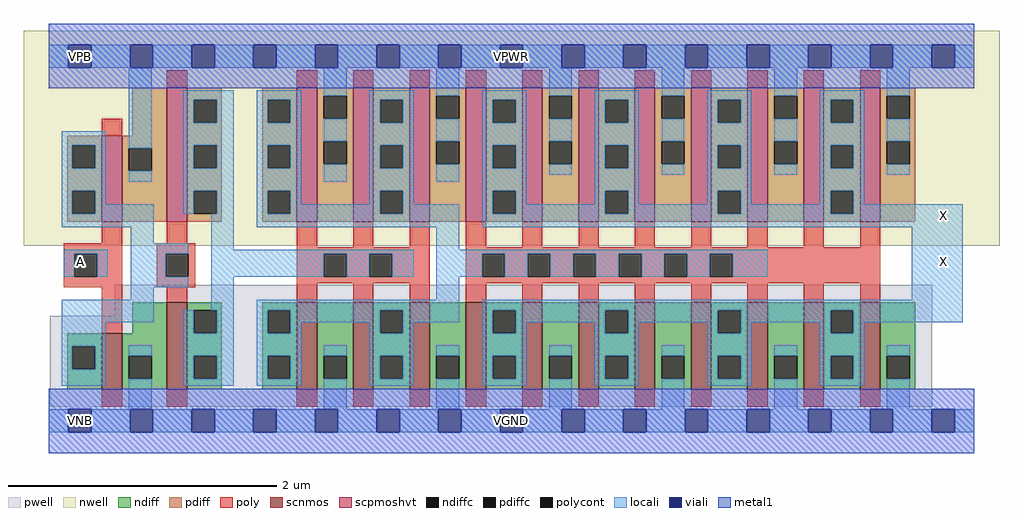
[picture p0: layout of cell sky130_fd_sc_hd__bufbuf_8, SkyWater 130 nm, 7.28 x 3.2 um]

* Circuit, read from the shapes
.subckt sky130_fd_sc_hd__bufbuf_8 A VGND VNB VPB VPWR X
XM1 VGND A n1 VNB sky130_fd_pr__nfet_01v8 w=0.42 l=0.15
XM2 n2 n1 VGND VNB sky130_fd_pr__nfet_01v8 w=0.65 l=0.15
XM3 VGND n2 n3 VNB sky130_fd_pr__nfet_01v8 w=0.65 l=0.15 m=3
XM4 X n3 VGND VNB sky130_fd_pr__nfet_01v8 w=0.65 l=0.15 m=8
XM5 VPWR A n1 VPB sky130_fd_pr__pfet_01v8_hvt w=0.64 l=0.15
XM6 n2 n1 VPWR VPB sky130_fd_pr__pfet_01v8_hvt w=1 l=0.15
XM7 VPWR n2 n3 VPB sky130_fd_pr__pfet_01v8_hvt w=1 l=0.15 m=3
XM8 X n3 VPWR VPB sky130_fd_pr__pfet_01v8_hvt w=1 l=0.15 m=8
.ends

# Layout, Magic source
magic
tech sky130B
magscale 1 2
<< nwell >>
rect -38 261 1418 582
<< pwell >>
rect 98 157 1318 203
rect 1 21 1318 157
rect 30 -17 64 21
<< scnmos >>
rect 79 47 109 131
rect 176 47 206 177
rect 370 47 400 177
rect 454 47 484 177
rect 538 47 568 177
rect 622 47 652 177
rect 706 47 736 177
rect 790 47 820 177
rect 874 47 904 177
rect 958 47 988 177
rect 1042 47 1072 177
rect 1126 47 1156 177
rect 1210 47 1240 177
<< scpmoshvt >>
rect 79 297 109 425
rect 176 297 206 497
rect 370 297 400 497
rect 454 297 484 497
rect 538 297 568 497
rect 622 297 652 497
rect 706 297 736 497
rect 790 297 820 497
rect 874 297 904 497
rect 958 297 988 497
rect 1042 297 1072 497
rect 1126 297 1156 497
rect 1210 297 1240 497
<< ndiff >>
rect 124 131 176 177
rect 27 111 79 131
rect 27 77 35 111
rect 69 77 79 111
rect 27 47 79 77
rect 109 97 176 131
rect 109 63 119 97
rect 153 63 176 97
rect 109 47 176 63
rect 206 165 258 177
rect 206 131 216 165
rect 250 131 258 165
rect 206 97 258 131
rect 206 63 216 97
rect 250 63 258 97
rect 206 47 258 63
rect 318 165 370 177
rect 318 131 326 165
rect 360 131 370 165
rect 318 97 370 131
rect 318 63 326 97
rect 360 63 370 97
rect 318 47 370 63
rect 400 97 454 177
rect 400 63 410 97
rect 444 63 454 97
rect 400 47 454 63
rect 484 165 538 177
rect 484 131 494 165
rect 528 131 538 165
rect 484 97 538 131
rect 484 63 494 97
rect 528 63 538 97
rect 484 47 538 63
rect 568 97 622 177
rect 568 63 578 97
rect 612 63 622 97
rect 568 47 622 63
rect 652 165 706 177
rect 652 131 662 165
rect 696 131 706 165
rect 652 97 706 131
rect 652 63 662 97
rect 696 63 706 97
rect 652 47 706 63
rect 736 97 790 177
rect 736 63 746 97
rect 780 63 790 97
rect 736 47 790 63
rect 820 165 874 177
rect 820 131 830 165
rect 864 131 874 165
rect 820 97 874 131
rect 820 63 830 97
rect 864 63 874 97
rect 820 47 874 63
rect 904 97 958 177
rect 904 63 914 97
rect 948 63 958 97
rect 904 47 958 63
rect 988 165 1042 177
rect 988 131 998 165
rect 1032 131 1042 165
rect 988 97 1042 131
rect 988 63 998 97
rect 1032 63 1042 97
rect 988 47 1042 63
rect 1072 97 1126 177
rect 1072 63 1082 97
rect 1116 63 1126 97
rect 1072 47 1126 63
rect 1156 165 1210 177
rect 1156 131 1166 165
rect 1200 131 1210 165
rect 1156 97 1210 131
rect 1156 63 1166 97
rect 1200 63 1210 97
rect 1156 47 1210 63
rect 1240 97 1292 177
rect 1240 63 1250 97
rect 1284 63 1292 97
rect 1240 47 1292 63
<< pdiff >>
rect 124 425 176 497
rect 27 411 79 425
rect 27 377 35 411
rect 69 377 79 411
rect 27 343 79 377
rect 27 309 35 343
rect 69 309 79 343
rect 27 297 79 309
rect 109 407 176 425
rect 109 373 119 407
rect 153 373 176 407
rect 109 297 176 373
rect 206 479 258 497
rect 206 445 216 479
rect 250 445 258 479
rect 206 411 258 445
rect 206 377 216 411
rect 250 377 258 411
rect 206 343 258 377
rect 206 309 216 343
rect 250 309 258 343
rect 206 297 258 309
rect 318 479 370 497
rect 318 445 326 479
rect 360 445 370 479
rect 318 411 370 445
rect 318 377 326 411
rect 360 377 370 411
rect 318 343 370 377
rect 318 309 326 343
rect 360 309 370 343
rect 318 297 370 309
rect 400 485 454 497
rect 400 451 410 485
rect 444 451 454 485
rect 400 417 454 451
rect 400 383 410 417
rect 444 383 454 417
rect 400 297 454 383
rect 484 479 538 497
rect 484 445 494 479
rect 528 445 538 479
rect 484 411 538 445
rect 484 377 494 411
rect 528 377 538 411
rect 484 343 538 377
rect 484 309 494 343
rect 528 309 538 343
rect 484 297 538 309
rect 568 485 622 497
rect 568 451 578 485
rect 612 451 622 485
rect 568 417 622 451
rect 568 383 578 417
rect 612 383 622 417
rect 568 297 622 383
rect 652 479 706 497
rect 652 445 662 479
rect 696 445 706 479
rect 652 411 706 445
rect 652 377 662 411
rect 696 377 706 411
rect 652 343 706 377
rect 652 309 662 343
rect 696 309 706 343
rect 652 297 706 309
rect 736 485 790 497
rect 736 451 746 485
rect 780 451 790 485
rect 736 417 790 451
rect 736 383 746 417
rect 780 383 790 417
rect 736 297 790 383
rect 820 479 874 497
rect 820 445 830 479
rect 864 445 874 479
rect 820 411 874 445
rect 820 377 830 411
rect 864 377 874 411
rect 820 343 874 377
rect 820 309 830 343
rect 864 309 874 343
rect 820 297 874 309
rect 904 485 958 497
rect 904 451 914 485
rect 948 451 958 485
rect 904 417 958 451
rect 904 383 914 417
rect 948 383 958 417
rect 904 297 958 383
rect 988 479 1042 497
rect 988 445 998 479
rect 1032 445 1042 479
rect 988 411 1042 445
rect 988 377 998 411
rect 1032 377 1042 411
rect 988 343 1042 377
rect 988 309 998 343
rect 1032 309 1042 343
rect 988 297 1042 309
rect 1072 485 1126 497
rect 1072 451 1082 485
rect 1116 451 1126 485
rect 1072 417 1126 451
rect 1072 383 1082 417
rect 1116 383 1126 417
rect 1072 297 1126 383
rect 1156 479 1210 497
rect 1156 445 1166 479
rect 1200 445 1210 479
rect 1156 411 1210 445
rect 1156 377 1166 411
rect 1200 377 1210 411
rect 1156 343 1210 377
rect 1156 309 1166 343
rect 1200 309 1210 343
rect 1156 297 1210 309
rect 1240 485 1292 497
rect 1240 451 1250 485
rect 1284 451 1292 485
rect 1240 417 1292 451
rect 1240 383 1250 417
rect 1284 383 1292 417
rect 1240 297 1292 383
<< ndiffc >>
rect 35 77 69 111
rect 119 63 153 97
rect 216 131 250 165
rect 216 63 250 97
rect 326 131 360 165
rect 326 63 360 97
rect 410 63 444 97
rect 494 131 528 165
rect 494 63 528 97
rect 578 63 612 97
rect 662 131 696 165
rect 662 63 696 97
rect 746 63 780 97
rect 830 131 864 165
rect 830 63 864 97
rect 914 63 948 97
rect 998 131 1032 165
rect 998 63 1032 97
rect 1082 63 1116 97
rect 1166 131 1200 165
rect 1166 63 1200 97
rect 1250 63 1284 97
<< pdiffc >>
rect 35 377 69 411
rect 35 309 69 343
rect 119 373 153 407
rect 216 445 250 479
rect 216 377 250 411
rect 216 309 250 343
rect 326 445 360 479
rect 326 377 360 411
rect 326 309 360 343
rect 410 451 444 485
rect 410 383 444 417
rect 494 445 528 479
rect 494 377 528 411
rect 494 309 528 343
rect 578 451 612 485
rect 578 383 612 417
rect 662 445 696 479
rect 662 377 696 411
rect 662 309 696 343
rect 746 451 780 485
rect 746 383 780 417
rect 830 445 864 479
rect 830 377 864 411
rect 830 309 864 343
rect 914 451 948 485
rect 914 383 948 417
rect 998 445 1032 479
rect 998 377 1032 411
rect 998 309 1032 343
rect 1082 451 1116 485
rect 1082 383 1116 417
rect 1166 445 1200 479
rect 1166 377 1200 411
rect 1166 309 1200 343
rect 1250 451 1284 485
rect 1250 383 1284 417
<< poly >>
rect 176 497 206 523
rect 370 497 400 523
rect 454 497 484 523
rect 538 497 568 523
rect 622 497 652 523
rect 706 497 736 523
rect 790 497 820 523
rect 874 497 904 523
rect 958 497 988 523
rect 1042 497 1072 523
rect 1126 497 1156 523
rect 1210 497 1240 523
rect 79 425 109 451
rect 79 265 109 297
rect 176 265 206 297
rect 22 249 109 265
rect 22 215 38 249
rect 72 215 109 249
rect 22 199 109 215
rect 161 249 218 265
rect 161 215 174 249
rect 208 215 218 249
rect 161 199 218 215
rect 370 259 400 297
rect 454 259 484 297
rect 538 259 568 297
rect 370 249 568 259
rect 370 215 410 249
rect 444 215 478 249
rect 512 215 568 249
rect 370 205 568 215
rect 79 131 109 199
rect 176 177 206 199
rect 370 177 400 205
rect 454 177 484 205
rect 538 177 568 205
rect 622 259 652 297
rect 706 259 736 297
rect 790 259 820 297
rect 874 259 904 297
rect 958 259 988 297
rect 1042 259 1072 297
rect 1126 259 1156 297
rect 1210 259 1240 297
rect 622 249 1240 259
rect 622 215 646 249
rect 680 215 714 249
rect 748 215 782 249
rect 816 215 850 249
rect 884 215 918 249
rect 952 215 986 249
rect 1020 215 1240 249
rect 622 205 1240 215
rect 622 177 652 205
rect 706 177 736 205
rect 790 177 820 205
rect 874 177 904 205
rect 958 177 988 205
rect 1042 177 1072 205
rect 1126 177 1156 205
rect 1210 177 1240 205
rect 79 21 109 47
rect 176 21 206 47
rect 370 21 400 47
rect 454 21 484 47
rect 538 21 568 47
rect 622 21 652 47
rect 706 21 736 47
rect 790 21 820 47
rect 874 21 904 47
rect 958 21 988 47
rect 1042 21 1072 47
rect 1126 21 1156 47
rect 1210 21 1240 47
<< polycont >>
rect 38 215 72 249
rect 174 215 208 249
rect 410 215 444 249
rect 478 215 512 249
rect 646 215 680 249
rect 714 215 748 249
rect 782 215 816 249
rect 850 215 884 249
rect 918 215 952 249
rect 986 215 1020 249
<< locali >>
rect 0 527 29 561
rect 63 527 121 561
rect 155 527 213 561
rect 247 527 305 561
rect 339 527 397 561
rect 431 527 489 561
rect 523 527 581 561
rect 615 527 673 561
rect 707 527 765 561
rect 799 527 857 561
rect 891 527 949 561
rect 983 527 1041 561
rect 1075 527 1133 561
rect 1167 527 1225 561
rect 1259 527 1317 561
rect 1351 527 1380 561
rect 19 411 85 432
rect 19 377 35 411
rect 69 377 85 411
rect 19 343 85 377
rect 119 407 153 527
rect 119 357 153 373
rect 200 479 276 493
rect 200 445 216 479
rect 250 445 276 479
rect 200 411 276 445
rect 200 377 216 411
rect 250 377 276 411
rect 19 309 35 343
rect 69 323 85 343
rect 200 343 276 377
rect 69 309 156 323
rect 200 309 216 343
rect 250 309 276 343
rect 19 289 156 309
rect 122 265 156 289
rect 22 249 88 255
rect 22 215 38 249
rect 72 215 88 249
rect 122 249 208 265
rect 122 215 174 249
rect 122 199 208 215
rect 242 255 276 309
rect 310 479 376 493
rect 310 445 326 479
rect 360 445 376 479
rect 310 411 376 445
rect 310 377 326 411
rect 360 377 376 411
rect 310 343 376 377
rect 410 485 444 527
rect 410 417 444 451
rect 410 357 444 383
rect 478 479 544 493
rect 478 445 494 479
rect 528 445 544 479
rect 478 411 544 445
rect 478 377 494 411
rect 528 377 544 411
rect 310 309 326 343
rect 360 323 376 343
rect 478 343 544 377
rect 578 485 612 527
rect 578 417 612 451
rect 578 357 612 383
rect 646 479 712 493
rect 646 445 662 479
rect 696 445 712 479
rect 646 411 712 445
rect 646 377 662 411
rect 696 377 712 411
rect 478 323 494 343
rect 360 309 494 323
rect 528 323 544 343
rect 646 343 712 377
rect 746 485 780 527
rect 746 417 780 451
rect 746 367 780 383
rect 814 479 880 493
rect 814 445 830 479
rect 864 445 880 479
rect 814 411 880 445
rect 814 377 830 411
rect 864 377 880 411
rect 528 309 612 323
rect 310 289 612 309
rect 646 309 662 343
rect 696 323 712 343
rect 814 343 880 377
rect 914 485 948 527
rect 914 417 948 451
rect 914 367 948 383
rect 982 479 1048 493
rect 982 445 998 479
rect 1032 445 1048 479
rect 982 411 1048 445
rect 982 377 998 411
rect 1032 377 1048 411
rect 814 323 830 343
rect 696 309 830 323
rect 864 323 880 343
rect 982 343 1048 377
rect 1082 485 1116 527
rect 1082 417 1116 451
rect 1082 367 1116 383
rect 1150 479 1216 493
rect 1150 445 1166 479
rect 1200 445 1216 479
rect 1150 411 1216 445
rect 1150 377 1166 411
rect 1200 377 1216 411
rect 982 323 998 343
rect 864 309 998 323
rect 1032 323 1048 343
rect 1150 343 1216 377
rect 1250 485 1284 527
rect 1250 417 1284 451
rect 1250 367 1284 383
rect 1150 323 1166 343
rect 1032 309 1166 323
rect 1200 323 1216 343
rect 1200 309 1363 323
rect 646 289 1363 309
rect 578 255 612 289
rect 242 249 544 255
rect 242 215 410 249
rect 444 215 478 249
rect 512 215 544 249
rect 578 249 1072 255
rect 578 215 646 249
rect 680 215 714 249
rect 748 215 782 249
rect 816 215 850 249
rect 884 215 918 249
rect 952 215 986 249
rect 1020 215 1072 249
rect 122 181 156 199
rect 19 147 156 181
rect 242 165 276 215
rect 578 181 612 215
rect 1287 181 1363 289
rect 19 111 85 147
rect 200 131 216 165
rect 250 131 276 165
rect 19 77 35 111
rect 69 77 85 111
rect 19 52 85 77
rect 119 97 153 113
rect 119 17 153 63
rect 200 97 276 131
rect 200 63 216 97
rect 250 63 276 97
rect 200 52 276 63
rect 310 165 612 181
rect 310 131 326 165
rect 360 147 494 165
rect 360 131 376 147
rect 310 97 376 131
rect 478 131 494 147
rect 528 147 612 165
rect 646 165 1363 181
rect 528 131 544 147
rect 310 63 326 97
rect 360 63 376 97
rect 310 52 376 63
rect 410 97 444 113
rect 410 17 444 63
rect 478 97 544 131
rect 646 131 662 165
rect 696 147 830 165
rect 696 131 712 147
rect 478 63 494 97
rect 528 63 544 97
rect 478 52 544 63
rect 578 97 612 113
rect 578 17 612 63
rect 646 97 712 131
rect 814 131 830 147
rect 864 147 998 165
rect 864 131 880 147
rect 646 63 662 97
rect 696 63 712 97
rect 646 52 712 63
rect 746 97 780 113
rect 746 17 780 63
rect 814 97 880 131
rect 982 131 998 147
rect 1032 147 1166 165
rect 1032 131 1048 147
rect 814 63 830 97
rect 864 63 880 97
rect 814 52 880 63
rect 914 97 948 113
rect 914 17 948 63
rect 982 97 1048 131
rect 1150 131 1166 147
rect 1200 147 1363 165
rect 1200 131 1216 147
rect 982 63 998 97
rect 1032 63 1048 97
rect 982 52 1048 63
rect 1082 97 1116 113
rect 1082 17 1116 63
rect 1150 97 1216 131
rect 1150 63 1166 97
rect 1200 63 1216 97
rect 1150 52 1216 63
rect 1250 97 1284 113
rect 1250 17 1284 63
rect 0 -17 29 17
rect 63 -17 121 17
rect 155 -17 213 17
rect 247 -17 305 17
rect 339 -17 397 17
rect 431 -17 489 17
rect 523 -17 581 17
rect 615 -17 673 17
rect 707 -17 765 17
rect 799 -17 857 17
rect 891 -17 949 17
rect 983 -17 1041 17
rect 1075 -17 1133 17
rect 1167 -17 1225 17
rect 1259 -17 1317 17
rect 1351 -17 1380 17
<< viali >>
rect 29 527 63 561
rect 121 527 155 561
rect 213 527 247 561
rect 305 527 339 561
rect 397 527 431 561
rect 489 527 523 561
rect 581 527 615 561
rect 673 527 707 561
rect 765 527 799 561
rect 857 527 891 561
rect 949 527 983 561
rect 1041 527 1075 561
rect 1133 527 1167 561
rect 1225 527 1259 561
rect 1317 527 1351 561
rect 29 -17 63 17
rect 121 -17 155 17
rect 213 -17 247 17
rect 305 -17 339 17
rect 397 -17 431 17
rect 489 -17 523 17
rect 581 -17 615 17
rect 673 -17 707 17
rect 765 -17 799 17
rect 857 -17 891 17
rect 949 -17 983 17
rect 1041 -17 1075 17
rect 1133 -17 1167 17
rect 1225 -17 1259 17
rect 1317 -17 1351 17
<< metal1 >>
rect 0 561 1380 592
rect 0 527 29 561
rect 63 527 121 561
rect 155 527 213 561
rect 247 527 305 561
rect 339 527 397 561
rect 431 527 489 561
rect 523 527 581 561
rect 615 527 673 561
rect 707 527 765 561
rect 799 527 857 561
rect 891 527 949 561
rect 983 527 1041 561
rect 1075 527 1133 561
rect 1167 527 1225 561
rect 1259 527 1317 561
rect 1351 527 1380 561
rect 0 496 1380 527
rect 0 17 1380 48
rect 0 -17 29 17
rect 63 -17 121 17
rect 155 -17 213 17
rect 247 -17 305 17
rect 339 -17 397 17
rect 431 -17 489 17
rect 523 -17 581 17
rect 615 -17 673 17
rect 707 -17 765 17
rect 799 -17 857 17
rect 891 -17 949 17
rect 983 -17 1041 17
rect 1075 -17 1133 17
rect 1167 -17 1225 17
rect 1259 -17 1317 17
rect 1351 -17 1380 17
rect 0 -48 1380 -17
<< labels >>
flabel locali s 30 221 64 255 0 FreeSans 200 0 0 0 A
port 1 nsew signal input
flabel locali s 1317 221 1351 255 0 FreeSans 200 0 0 0 X
port 6 nsew signal output
flabel locali s 1317 289 1351 323 0 FreeSans 200 0 0 0 X
port 6 nsew signal output
flabel pwell s 30 -17 64 17 0 FreeSans 200 0 0 0 VNB
port 3 nsew ground bidirectional
flabel nwell s 30 527 64 561 0 FreeSans 200 0 0 0 VPB
port 4 nsew power bidirectional
flabel metal1 s 30 -17 64 17 0 FreeSans 200 0 0 0 VGND
port 2 nsew ground bidirectional abutment
flabel metal1 s 30 527 64 561 0 FreeSans 200 0 0 0 VPWR
port 5 nsew power bidirectional abutment
rlabel comment s 0 0 0 0 4 bufbuf_8
rlabel metal1 s 0 -48 1380 48 1 VGND
port 2 nsew ground bidirectional abutment
rlabel metal1 s 0 496 1380 592 1 VPWR
port 5 nsew power bidirectional abutment
<< properties >>
string FIXED_BBOX 0 0 1380 544
string GDS_END 3150666
string GDS_FILE $PDKPATH/libs.ref/sky130_fd_sc_hd/gds/sky130_fd_sc_hd.gds
string GDS_START 3140194
string LEFclass CORE
string LEFsite unithd
string LEFsymmetry X Y R90
string path 0.000 0.000 34.500 0.000 
<< end >>
